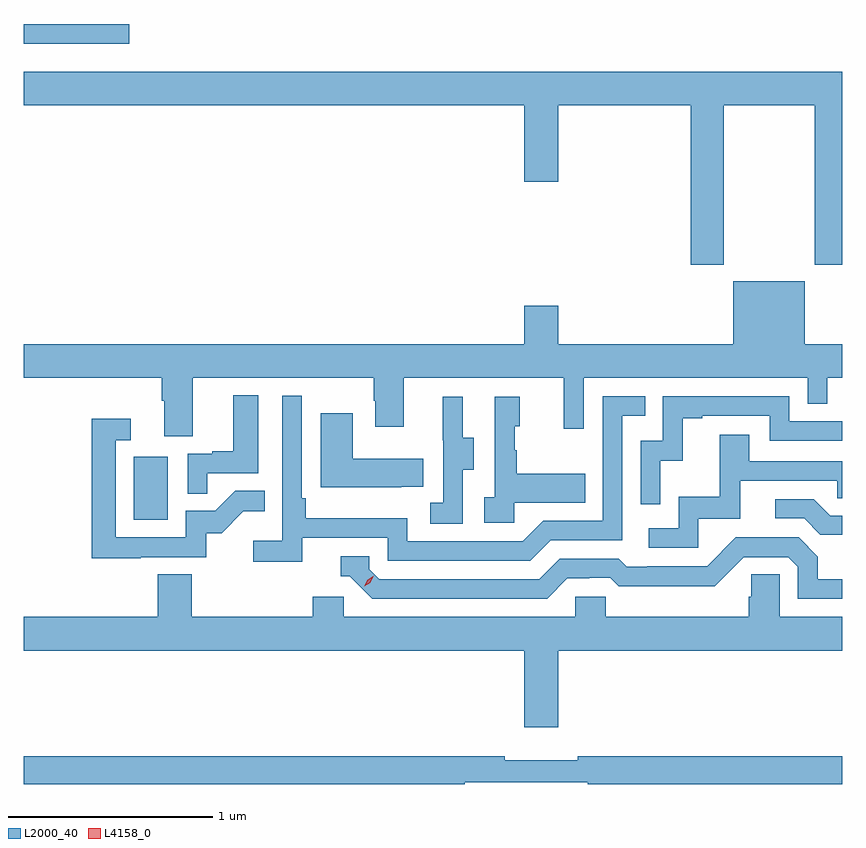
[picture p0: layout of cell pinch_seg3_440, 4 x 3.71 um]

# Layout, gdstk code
import gdstk
lib = gdstk.Library(unit=1e-6, precision=1e-09)
def R(c, l, rs):  # rectangles x0, y0, x1, y1
    for r in rs: c.add(gdstk.rectangle(r[:2], r[2:], *l))
def P(c, l, *ps):  # polygons
    for p in ps: c.add(gdstk.Polygon(p, *l))
L2000_40 = (2000, 40)
L4158_0 = (4158, 0)

pinch_seg3_440 = lib.new_cell('pinch_seg3_440')
R(pinch_seg3_440, L2000_40, [(942.32,672.252,942.484,672.559), (941.781,674.576,942.298,674.673)])
P(pinch_seg3_440, L2000_40, [(945.201,674.276),(945.646,674.276),(945.646,673.497),(945.781,673.497),(945.781,674.44),(941.781,674.44),(941.781,674.276),(944.228,674.276),(944.228,673.902),(944.392,673.902),(944.392,674.276),(945.041,674.276),(945.041,673.497),(945.201,673.497)],
  [(942.607,672.944),(943.492,672.944),(943.492,672.833),(943.499,672.833),(943.499,672.705),(943.639,672.705),(943.639,672.944),(944.42,672.944),(944.42,672.696),(944.517,672.696),(944.517,672.944),(945.612,672.944),(945.612,672.817),(945.708,672.817),(945.708,672.944),(945.781,672.944),(945.781,673.108),(945.598,673.108),(945.598,673.417),(945.248,673.417),(945.248,673.108),(944.392,673.108),(944.392,673.297),(944.228,673.297),(944.228,673.108),(941.781,673.108),(941.781,672.944),(942.455,672.944),(942.455,672.832),(942.467,672.832),(942.467,672.658),(942.607,672.658)],
  [(942.677,672.477),(942.928,672.477),(942.928,672.859),(942.806,672.859),(942.806,672.586),(942.703,672.586),(942.703,672.573),(942.582,672.573),(942.582,672.379),(942.677,672.379)],
  [(943.142,672.162),(943.56,672.162),(943.56,672.051),(944.257,672.051),(944.356,672.15),(944.706,672.15),(944.706,672.759),(944.819,672.759),(944.819,672.855),(944.61,672.855),(944.61,672.246),(944.319,672.246),(944.22,672.147),(943.656,672.147),(943.656,672.259),(943.16,672.259),(943.16,672.355),(943.14,672.355),(943.14,672.856),(943.044,672.856),(943.044,672.148),(942.903,672.148),(942.903,672.046),(943.142,672.046)],
  [(944.892,672.539),(945.002,672.539),(945.002,672.747),(945.097,672.747),(945.097,672.759),(945.426,672.759),(945.426,672.636),(945.781,672.636),(945.781,672.732),(945.522,672.732),(945.522,672.855),(944.904,672.855),(944.904,672.636),(944.796,672.636),(944.796,672.327),(944.892,672.327)],
  [(943.926,672.496),(943.981,672.496),(943.981,672.651),(943.927,672.651),(943.927,672.853),(943.829,672.853),(943.829,672.639),(943.83,672.639),(943.83,672.335),(943.767,672.335),(943.767,672.232),(943.926,672.232)],
  [(944.178,672.335),(944.525,672.335),(944.525,672.475),(944.191,672.475),(944.191,672.59),(944.181,672.59),(944.181,672.708),(944.206,672.708),(944.206,672.853),(944.082,672.853),(944.082,672.362),(944.031,672.362),(944.031,672.237),(944.178,672.237)],
  [(943.625,672.413),(943.733,672.413),(943.733,672.55),(943.39,672.55),(943.39,672.772),(943.232,672.772),(943.232,672.41),(943.625,672.41)],
  [(942.353,672.069),(942.672,672.069),(942.672,672.186),(942.748,672.186),(942.855,672.293),(942.959,672.293),(942.959,672.392),(942.816,672.392),(942.718,672.294),(942.573,672.294),(942.573,672.165),(942.231,672.165),(942.231,672.639),(942.304,672.639),(942.304,672.745),(942.115,672.745),(942.115,672.064),(942.353,672.064)],
  [(945.078,672.255),(945.283,672.255),(945.283,672.441),(945.757,672.441),(945.757,672.357),(945.781,672.357),(945.781,672.537),(945.325,672.537),(945.325,672.667),(945.181,672.667),(945.181,672.364),(944.982,672.364),(944.982,672.21),(944.835,672.21),(944.835,672.114),(945.078,672.114)],
  [(945.781,672.27),(945.721,672.27),(945.64,672.351),(945.453,672.351),(945.453,672.258),(945.594,672.258),(945.674,672.178),(945.781,672.178)],
  [(944.437,671.964),(944.544,671.964),(944.544,671.967),(944.647,671.967),(944.689,671.925),(944.922,671.925),(944.922,671.927),(945.158,671.927),(945.3,672.069),(945.516,672.069),(945.564,672.021),(945.564,671.865),(945.781,671.865),(945.781,671.961),(945.661,671.961),(945.661,672.071),(945.567,672.165),(945.261,672.165),(945.12,672.024),(944.827,672.024),(944.827,672.021),(944.728,672.021),(944.689,672.06),(944.4,672.06),(944.301,671.961),(943.518,671.961),(943.47,672.009),(943.47,672.072),(943.331,672.072),(943.331,671.976),(943.374,671.976),(943.485,671.865),(944.338,671.865)],
  [(944.392,671.612),(945.781,671.612),(945.781,671.776),(945.474,671.776),(945.474,671.984),(945.337,671.984),(945.337,671.874),(945.323,671.874),(945.323,671.776),(944.625,671.776),(944.625,671.874),(944.475,671.874),(944.475,671.776),(943.344,671.776),(943.344,671.874),(943.193,671.874),(943.193,671.776),(942.602,671.776),(942.602,671.984),(942.437,671.984),(942.437,671.776),(941.781,671.776),(941.781,671.612),(944.228,671.612),(944.228,671.238),(944.392,671.238)],
  [(943.936,670.968),(944.536,670.968),(944.536,670.96),(945.781,670.96),(945.781,671.096),(944.488,671.096),(944.488,671.077),(944.132,671.077),(944.132,671.096),(941.781,671.096),(941.781,670.96),(943.936,670.96)])
P(pinch_seg3_440, L4158_0, [(943.444,671.925),(943.444,671.925),(943.461,671.958),(943.492,671.977),(943.492,671.977),(943.492,671.977),(943.475,671.944),(943.444,671.925)])

lib.write_gds('pinch_seg3_440.gds')
